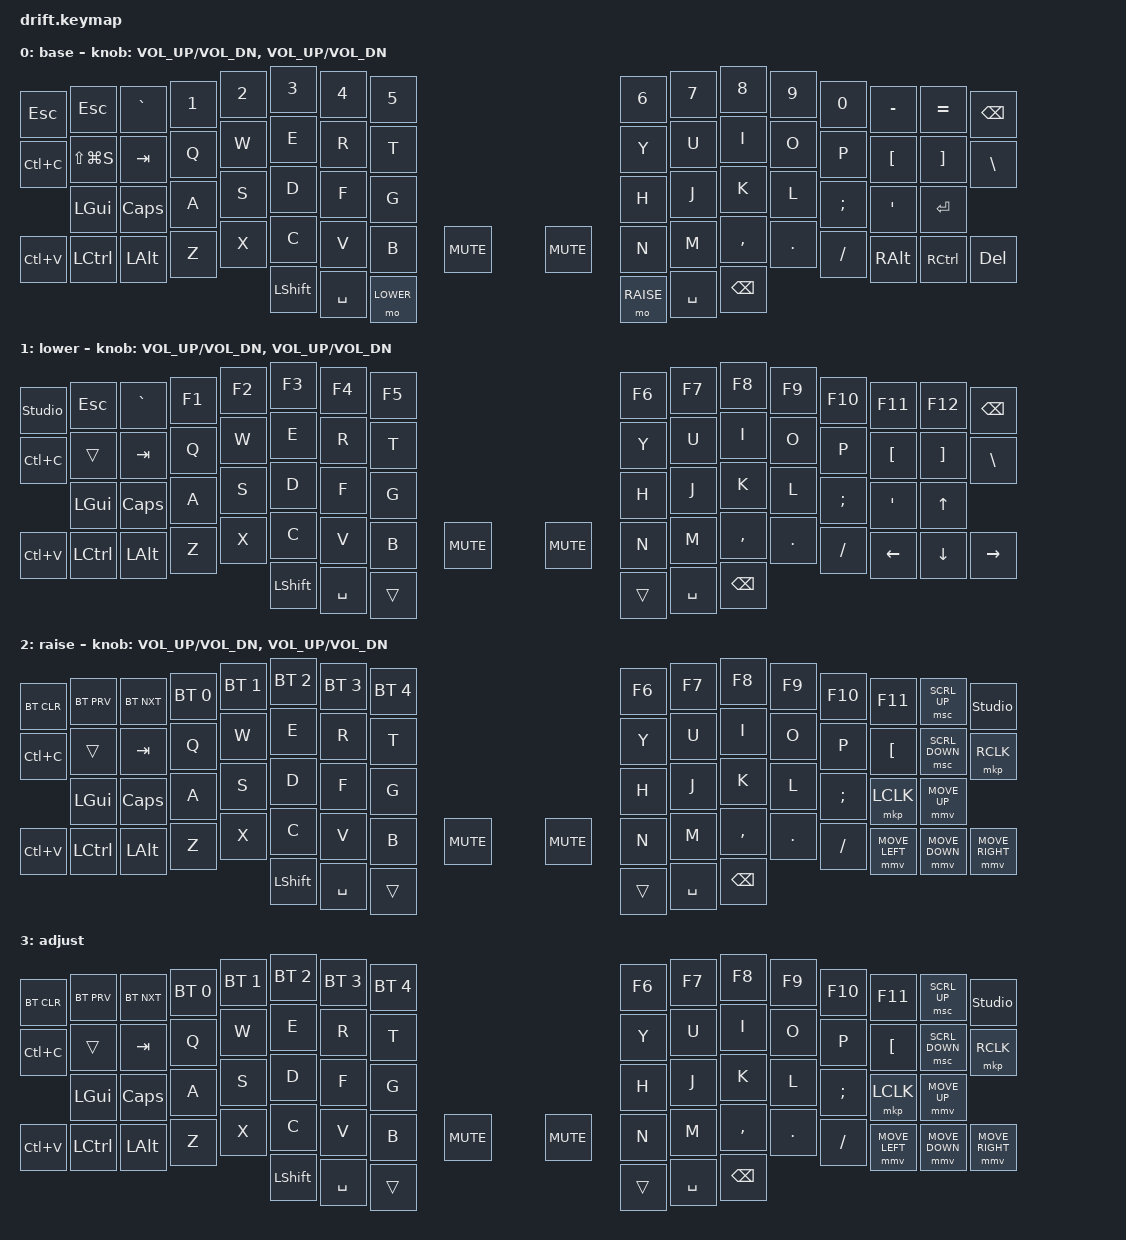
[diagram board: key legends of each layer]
// Copyright (c) 2024 Timception
// SPDX-License-Identifier: MIT
#include <behaviors.dtsi>
#include <dt-bindings/zmk/keys.h>

#define ZMK_POINTING_DEFAULT_MOVE_VAL 1500  // default: 600
#define ZMK_POINTING_DEFAULT_SCRL_VAL 20    // default: 10

#include <dt-bindings/zmk/pointing.h>
#include <dt-bindings/zmk/bt.h>
#include <dt-bindings/zmk/outputs.h>

#define BASE 0
#define LOWER 1
#define RAISE 2
#define ADJUST 3

/ {

    conditional_layers {
        compatible = "zmk,conditional-layers";

        tri_layer {
            if-layers = <LOWER RAISE>;
            then-layer = <ADJUST>;
        };
    };
    

    keymap {
        compatible = "zmk,keymap";

        default_layer {
            display-name = "base";
			
// ------------------------------------------------------------------------------------------------------------------------------------------
// | ESC   | ESC    |   `   |  1  |  2  |   3   |   4   |   5   |                   |   6   |   7   |   8   |  9  |  0  |  -  |  =  | BKSPC |
// | COPY  | SCRCAP | TAB   |  Q  |  W  |   E   |   R   |   T   |                   |   Y   |   U   |   I   |  O  |  P  |  [  |  ]  |   \   |
//         | GUI    | CAPS  |  A  |  S  |   D   |   F   |   G   |                   |   H   |   J   |   K   |  L  |  ;  |  '  |ENTER|
// | PASTE | CTRL   | SHIFT |  Z  |  X  |   C   |   V   |   B   |  MUTE  | |  MUTE  |   N   |   M   |   ,   |  .  |  /  | ALT |CTRL |  DEL  |
//                                      | SHIFT | SPACE | LOWER |                   | RAISE | SPACE | BKSPC |

            bindings = <
&kp ESC   &kp ESC       &kp GRAVE &kp N1   &kp N2    &kp N3    &kp N4    &kp N5                          &kp N6    &kp N7    &kp N8    &kp N9   &kp N0   &kp MINUS &kp EQUAL &kp BSPC
&kp LC(C) &kp LS(LG(S)) &kp TAB   &kp Q    &kp W     &kp E     &kp R     &kp T                           &kp Y     &kp U     &kp I     &kp O    &kp P    &kp LBKT  &kp RBKT  &kp BSLH
          &kp LGUI      &kp CAPS  &kp A    &kp S     &kp D     &kp F     &kp G                           &kp H     &kp J     &kp K     &kp L    &kp SEMI &kp SQT   &kp ENTER
&kp LC(V) &kp LCTRL     &kp LALT  &kp Z    &kp X     &kp C     &kp V     &kp B     &kp C_MUTE &kp C_MUTE &kp N     &kp M     &kp COMMA &kp DOT  &kp FSLH &kp RALT  &kp RCTRL &kp DEL
                                                     &kp LSHFT &kp SPACE &mo LOWER                       &mo RAISE &kp SPACE &kp BSPC
            >;

            sensor-bindings = <&inc_dec_kp C_VOL_UP C_VOL_DN &inc_dec_kp C_VOL_UP C_VOL_DN>;
        };

        lower_layer {
            display-name = "lower";

// --------------------------------------------------------------------------------------------------------------------------------------------
// | UNLOCK | ESC    |   `   | F1 |  F2 |   F3  |   F4  |   F5  |                   |   F6  |   F7  |   F8  |  F9 | F10 |  F11 | F12  | BKSPC |
// | COPY   | SCRCAP | TAB   | Q  |  W  |   E   |   R   |   T   |                   |   Y   |   U   |   I   |  O  |  P  |   [  |  ]   |   \   |
//          | GUI    | CAPS  | A  |  S  |   D   |   F   |   G   |                   |   H   |   J   |   K   |  L  |  ;  |   '  |  UP  |
// | PASTE  | CTRL   | SHIFT | Z  |  X  |   C   |   V   |   B   |  MUTE  | |  MUTE  |   N   |   M   |   ,   |  .  |  /  | LEFT | DOWN | RIGHT |
//                                      | SHIFT | SPACE | LOWER |                   | RAISE | SPACE | BKSPC |

            bindings = <
&studio_unlock &kp ESC    &kp GRAVE &kp F1   &kp F2    &kp F3    &kp F4    &kp F5                          &kp F6    &kp F7    &kp F8    &kp F9   &kp F10  &kp F11   &kp F12   &kp BSPC
&kp LC(C)      &trans     &kp TAB   &kp Q    &kp W     &kp E     &kp R     &kp T                           &kp Y     &kp U     &kp I     &kp O    &kp P    &kp LBKT  &kp RBKT  &kp BSLH
               &kp LGUI   &kp CAPS  &kp A    &kp S     &kp D     &kp F     &kp G                           &kp H     &kp J     &kp K     &kp L    &kp SEMI &kp SQT   &kp UP
&kp LC(V)      &kp LCTRL  &kp LALT  &kp Z    &kp X     &kp C     &kp V     &kp B     &kp C_MUTE &kp C_MUTE &kp N     &kp M     &kp COMMA &kp DOT  &kp FSLH &kp LEFT  &kp DOWN  &kp RIGHT
                                                      &kp LSHFT &kp SPACE &trans                          &trans    &kp SPACE &kp BSPC
            >;

            sensor-bindings = <&inc_dec_kp C_VOL_UP C_VOL_DN &inc_dec_kp C_VOL_UP C_VOL_DN>;
        };

        raise_layer {
            display-name = "raise";

// ----------------------------------------------------------------------------------------------------------------------------------------------
// | CLEAR | PREV   | NEXT  | BT1 |  BT2 |  BT3  |  BT4  |  BT5  |                   |   F6  |   F7  |   F8  |  F9 | F10 |  F11       | SCROLL DOWN |   UNLOCK    |
// | COPY  | SCRCAP | TAB   | Q   |  W   |   E   |   R   |   T   |                   |   Y   |   U   |   I   |  O  |  P  |   [        |  SCROLL UP  | RIGHT CLICK |
//         | GUI    | CAPS  | A   |  S   |   D   |   F   |   G   |                   |   H   |   J   |   K   |  L  |  ;  | LEFT CLICK |   MOUSE UP  |
// | PASTE | CTRL   | SHIFT | Z   |  X   |   C   |   V   |   B   |  MUTE  | |  MUTE  |   N   |   M   |   ,   |  .  |  /  | MOUSE LEFT |  MOUSE DOWN | MOUSE RIGHT |
//                                       | SHIFT | SPACE | LOWER |                   | RAISE | SPACE | BKSPC |

            bindings = <
&bt BT_CLR &bt BT_PRV &bt BT_NXT &bt BT_SEL 0 &bt BT_SEL 1 &bt BT_SEL 2 &bt BT_SEL 3 &bt BT_SEL 4                       &kp F6    &kp F7    &kp F8    &kp F9   &kp F10  &kp F11        &msc SCRL_UP   &studio_unlock
&kp LC(C)  &trans     &kp TAB    &kp Q        &kp W        &kp E        &kp R        &kp T                              &kp Y     &kp U     &kp I     &kp O    &kp P    &kp LBKT       &msc SCRL_DOWN &mkp RCLK
           &kp LGUI   &kp CAPS   &kp A        &kp S        &kp D        &kp F        &kp G                              &kp H     &kp J     &kp K     &kp L    &kp SEMI &mkp LCLK      &mmv MOVE_UP
&kp LC(V)  &kp LCTRL  &kp LALT   &kp Z        &kp X        &kp C        &kp V        &kp B        &kp C_MUTE &kp C_MUTE &kp N     &kp M     &kp COMMA &kp DOT  &kp FSLH &mmv MOVE_LEFT &mmv MOVE_DOWN &mmv MOVE_RIGHT
                                                           &kp LSHFT    &kp SPACE    &trans                             &trans    &kp SPACE &kp BSPC
            >;

            sensor-bindings = <&inc_dec_kp C_VOL_UP C_VOL_DN &inc_dec_kp C_VOL_UP C_VOL_DN>;
        };

        adjust_layer {

// ----------------------------------------------------------------------------------------------------------------------------------------------
// | CLEAR | PREV   | NEXT  | BT1 |  BT2 |  BT3  |  BT4  |  BT5  |                   |   F6  |   F7  |   F8  |  F9 | F10 |  F11       | SCROLL DOWN |   UNLOCK    |
// | COPY  | SCRCAP | TAB   | Q   |  W   |   E   |   R   |   T   |                   |   Y   |   U   |   I   |  O  |  P  |   [        |  SCROLL UP  | RIGHT CLICK |
//         | GUI    | CAPS  | A   |  S   |   D   |   F   |   G   |                   |   H   |   J   |   K   |  L  |  ;  | LEFT CLICK |   MOUSE UP  |
// | PASTE | CTRL   | SHIFT | Z   |  X   |   C   |   V   |   B   |  MUTE  | |  MUTE  |   N   |   M   |   ,   |  .  |  /  | MOUSE LEFT |  MOUSE DOWN | MOUSE RIGHT |
//                                       | SHIFT | SPACE | LOWER |                   | RAISE | SPACE | BKSPC |

            display-name = "adjust";
            bindings = <
&bt BT_CLR &bt BT_PRV &bt BT_NXT &bt BT_SEL 0 &bt BT_SEL 1 &bt BT_SEL 2 &bt BT_SEL 3 &bt BT_SEL 4                       &kp F6    &kp F7    &kp F8    &kp F9   &kp F10  &kp F11        &msc SCRL_UP   &studio_unlock
&kp LC(C)  &trans     &kp TAB    &kp Q        &kp W        &kp E        &kp R        &kp T                              &kp Y     &kp U     &kp I     &kp O    &kp P    &kp LBKT       &msc SCRL_DOWN &mkp RCLK
           &kp LGUI   &kp CAPS   &kp A        &kp S        &kp D        &kp F        &kp G                              &kp H     &kp J     &kp K     &kp L    &kp SEMI &mkp LCLK      &mmv MOVE_UP
&kp LC(V)  &kp LCTRL  &kp LALT   &kp Z        &kp X        &kp C        &kp V        &kp B        &kp C_MUTE &kp C_MUTE &kp N     &kp M     &kp COMMA &kp DOT  &kp FSLH &mmv MOVE_LEFT &mmv MOVE_DOWN &mmv MOVE_RIGHT
                                                           &kp LSHFT    &kp SPACE    &trans                             &trans    &kp SPACE &kp BSPC
            >;
        };

    };
};
